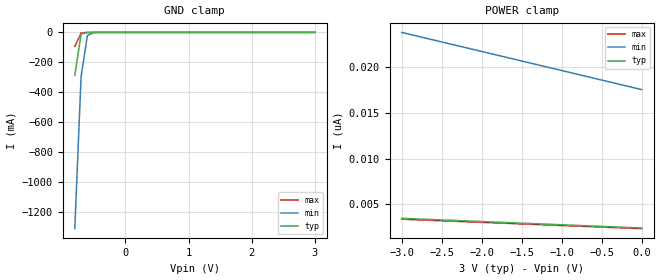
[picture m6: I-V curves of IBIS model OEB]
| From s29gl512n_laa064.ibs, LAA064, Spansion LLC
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[Model]   OEB
Model_type Input
Vinh=2.1
Vinl=0.9
C_comp   8.0pF   8.0pF   8.0pF
[Temperature Range] 27   100   0
[Voltage Range]   3.0   2.7   3.6
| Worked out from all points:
|   GND clamp passes 1 mA (typ) near -0.60 V on its own axis
[GND Clamp]
-800mV    -287.8mA   -1.313A    -94.42mA
-700mV    -11.26mA   -295.1mA   -2.968mA
-600mV    -563.6uA   -20.67mA   -520.2uA
-500mV    -101.7uA   -1.068mA   -134.3uA
-400mV    -23.15uA   -80.17uA   -30.22uA
3V        2.419nA    18.19nA    2.142nA
[POWER Clamp]
-3V       3.48nA     23.82nA    3.385nA
-1V       2.773nA    19.65nA    2.694nA
-400mV    2.56nA     18.4nA     2.487nA
0V        2.419nA    17.56nA    2.349nA
